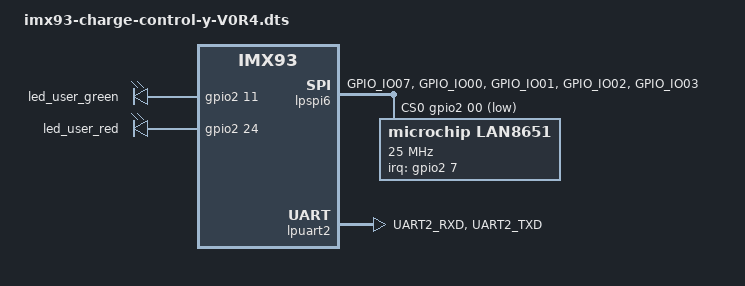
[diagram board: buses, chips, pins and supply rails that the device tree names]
// SPDX-License-Identifier: (GPL-2.0+ OR MIT)
/*
 * Copyright (C) 2025 chargebyte GmbH
 */

/dts-v1/;

#include "imx93-charge-control-y.dts"

&{/} {
	model = "chargebyte Charge Control Y V0R4";
};

&iomuxc {
	pinctrl_lpspi6: lpspi6grp {
		/* drive strength: X2, slew rate: fast, no pull */
		fsl,pins = <
			MX93_PAD_GPIO_IO07__GPIO2_IO07		0x186 // X_LAN_nINT0
			MX93_PAD_GPIO_IO00__GPIO2_IO00		0x186 // X_LAN_nCS0
			MX93_PAD_GPIO_IO01__LPSPI6_SIN		0x186 // X_LAN_MISO
			MX93_PAD_GPIO_IO02__LPSPI6_SOUT		0x186 // X_LAN_MOSI
			MX93_PAD_GPIO_IO03__LPSPI6_SCK		0x186 // X_LAN_SCK
		>;
	};

	pinctrl_uart2: uart2grp {
		fsl,pins = <
			MX93_PAD_UART2_RXD__LPUART2_RX		0x31e // drive strength: X4, slew rate: slightly fast, pull up
			MX93_PAD_UART2_TXD__LPUART2_TX		0x30e // drive strength: X3, slew rate: slightly fast, pull up
		>;
	};	
};

/delete-node/ &lan8651;

&ethphy2 {
	reset-gpios = <&gpio4 13 GPIO_ACTIVE_LOW>;
};

&led_user_green {
	gpios = <&gpio2 11 GPIO_ACTIVE_HIGH>;
};

&led_user_red {
	gpios = <&gpio2 24 GPIO_ACTIVE_HIGH>;
};

&lpspi3 {
	status = "disabled";	
};

&lpspi6 {
	pinctrl-names = "default";
	pinctrl-0 = <&pinctrl_lpspi6>;
	num-cs = <1>;
	cs-gpios = <&gpio2 00 GPIO_ACTIVE_LOW>;
	status = "okay";

	lan8651: ethernet@0 {
		compatible = "microchip,lan8651", "microchip,lan8650";
		reg = <0>;
		interrupt-parent = <&gpio2>;
		interrupts = <7 IRQ_TYPE_EDGE_FALLING>;
		spi-max-frequency = <25000000>;

		nvmem-cells = <&eth2_mac_address 0>;
		nvmem-cell-names = "mac-address";
	};
};

/* Safety Controller */
&lpuart2 {
	pinctrl-names = "default";
	pinctrl-0 = <&pinctrl_uart2>;
	status = "okay";
};

&lpuart3 {
	status = "disabled";
};
